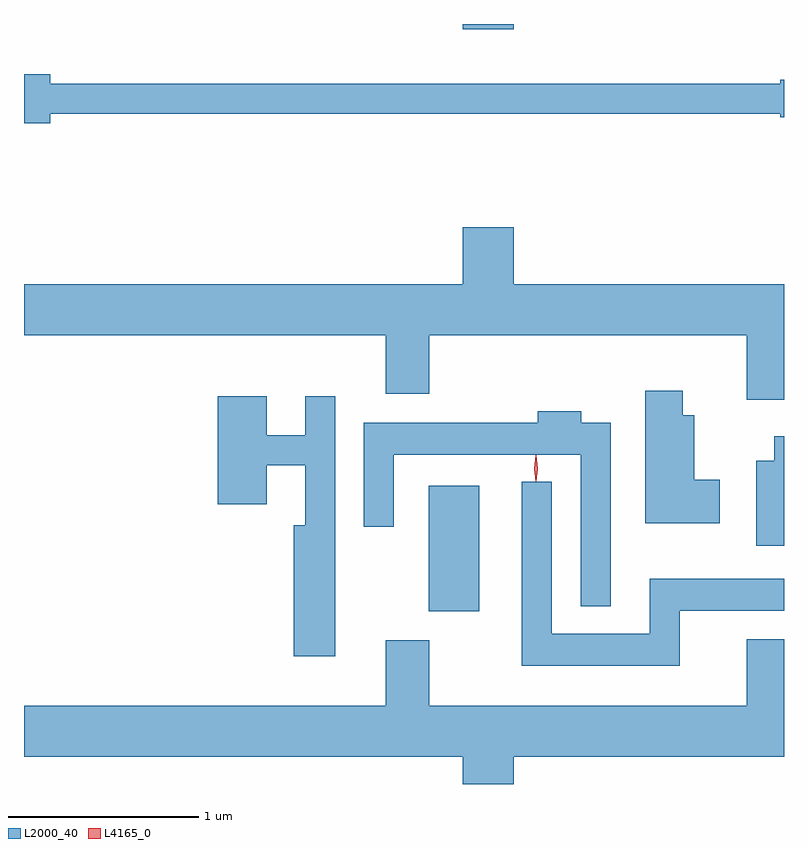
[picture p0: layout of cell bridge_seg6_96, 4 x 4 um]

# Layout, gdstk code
import gdstk
lib = gdstk.Library(unit=1e-6, precision=1e-09)
def R(c, l, rs):  # rectangles x0, y0, x1, y1
    for r in rs: c.add(gdstk.rectangle(r[:2], r[2:], *l))
def P(c, l, *ps):  # polygons
    for p in ps: c.add(gdstk.Polygon(p, *l))
L2000_40 = (2000, 40)
L4165_0 = (4165, 0)

bridge_seg6_96 = lib.new_cell('bridge_seg6_96')
R(bridge_seg6_96, L2000_40, [(1094.016,1612.961,1094.284,1613.624), (1094.196,1616.026,1094.464,1616.053)])
P(bridge_seg6_96, L2000_40, [(1092.024,1615.581),(1095.866,1615.581),(1095.866,1615.561),(1095.887,1615.561),(1095.887,1615.759),(1095.866,1615.759),(1095.866,1615.739),(1092.024,1615.739),(1092.024,1615.789),(1091.887,1615.789),(1091.887,1615.531),(1092.024,1615.531)],
  [(1095.887,1614.684),(1094.464,1614.684),(1094.464,1614.984),(1094.196,1614.984),(1094.196,1614.684),(1091.887,1614.684),(1091.887,1614.416),(1093.791,1614.416),(1093.791,1614.106),(1094.019,1614.106),(1094.019,1614.416),(1095.691,1614.416),(1095.691,1614.076),(1095.887,1614.076)],
  [(1095.549,1613.654),(1095.414,1613.654),(1095.414,1613.994),(1095.354,1613.994),(1095.354,1614.124),(1095.156,1614.124),(1095.156,1613.426),(1095.549,1613.426)],
  [(1093.524,1614.093),(1093.366,1614.093),(1093.366,1613.889),(1093.164,1613.889),(1093.164,1614.094),(1092.906,1614.094),(1092.906,1613.526),(1093.164,1613.526),(1093.164,1613.731),(1093.366,1613.731),(1093.366,1613.414),(1093.306,1613.414),(1093.306,1612.726),(1093.524,1612.726)],
  [(1094.974,1613.954),(1094.819,1613.954),(1094.819,1614.014),(1094.591,1614.014),(1094.591,1613.954),(1093.676,1613.954),(1093.676,1613.408),(1093.834,1613.408),(1093.834,1613.786),(1094.816,1613.786),(1094.816,1612.988),(1094.974,1612.988)],
  [(1095.887,1613.884),(1095.836,1613.884),(1095.836,1613.754),(1095.741,1613.754),(1095.741,1613.306),(1095.887,1613.306)],
  [(1095.339,1612.966),(1095.887,1612.966),(1095.887,1613.134),(1095.181,1613.134),(1095.181,1612.844),(1094.664,1612.844),(1094.664,1613.643),(1094.506,1613.643),(1094.506,1612.676),(1095.339,1612.676)],
  [(1094.464,1612.196),(1095.887,1612.196),(1095.887,1612.814),(1095.691,1612.814),(1095.691,1612.464),(1094.019,1612.464),(1094.019,1612.809),(1093.791,1612.809),(1093.791,1612.464),(1091.887,1612.464),(1091.887,1612.196),(1094.196,1612.196),(1094.196,1612.053),(1094.464,1612.053)])
P(bridge_seg6_96, L4165_0, [(1094.581,1613.644),(1094.572,1613.713),(1094.581,1613.782),(1094.582,1613.783),(1094.582,1613.782),(1094.592,1613.713),(1094.582,1613.644),(1094.582,1613.644)])

lib.write_gds('bridge_seg6_96.gds')
